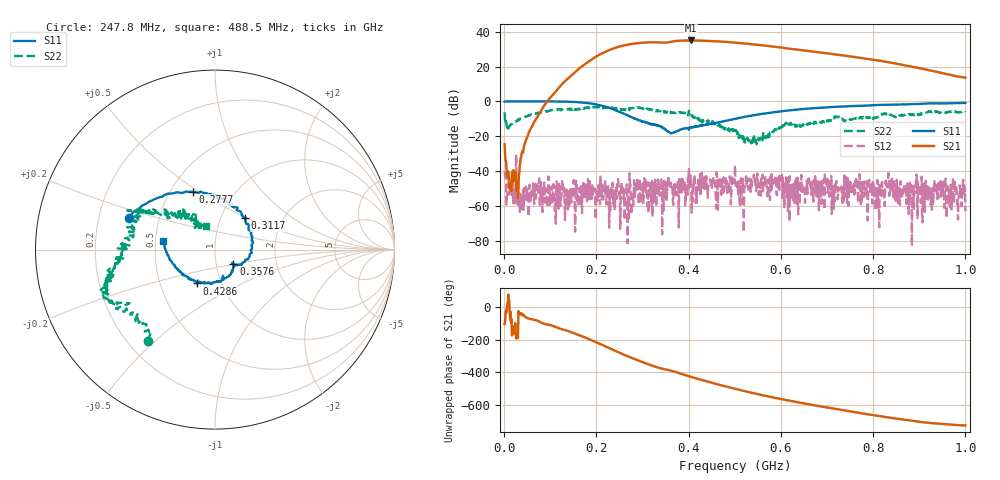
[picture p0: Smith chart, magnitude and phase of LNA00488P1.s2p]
! Created with skrf 1.9.0 (http://scikit-rf.org).
# Hz S RI R 50.0
!freq ReS11 ImS11 ReS21 ImS21 ReS12 ImS12 ReS22 ImS22
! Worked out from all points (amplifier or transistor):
!   1001 points, 1 MHz to 1 GHz, reference 50 ohm
!   highest |S21| = 35.0 dB at 404.6 MHz (marker M1)
!   |S21| within 3 dB of that: 257.2 MHz to 566.2 MHz (309 MHz wide, 75 % of centre) (the widest 1 of 2)
!   unconditionally stable (mu >= 1): 247.8 MHz to 400.3 MHz; 400.9 MHz to 500.5 MHz; 500.5 MHz to end of sweep (the widest 3 of 42)
!   at 166.8 MHz: K = 0.98, MSG = 33.7 dB, |S12| = -47.6 dB
!   at 500.5 MHz: K = 0.99, MSG = 35.1 dB, |S12| = -36.5 dB
!   at 1 GHz: K = 19.52, MAG = 22.4 dB, |S12| = -63.0 dB
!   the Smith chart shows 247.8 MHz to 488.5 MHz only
!   S11 on the Smith chart (normalised r, x): 247.8 MHz: 0.33, +0.16; 277.7 MHz: 0.65, +0.47; 311.7 MHz: 1.30, +0.49; 357.6 MHz: 1.21, -0.20; 428.6 MHz: 0.76, -0.30; 488.5 MHz: 0.55, +0.06
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1000000  0.9815 -0.00298  -0.0128 -0.0572  -0.0081 -0.00568  0.3817 0.3
1.08892e8  0.5338 -0.8406  -0.8012 -1.54  -0.000498 -0.00234  0.427 -0.3865
1.67833e8  -0.2158 -0.9037  -9.963 -0.5914  0.00194 8.07e-05  0.0275 -0.628
2.11789e8  -0.6619 -0.3619  -15.32 18.23  -0.000839 -0.00119  -0.2142 -0.6343
2.29771e8  -0.6394 -0.0599  -8.83 29.01  0.000153 0.000606  -0.3083 -0.5833
2.47753e8  -0.4777 0.1776  3.925 36.68  0.00286 -0.00413  -0.3706 -0.5091
2.77723e8  -0.1232 0.3217  30.3 33.17  0.000691 0.00127  -0.5711 -0.2969
3.11689e8  0.1686 0.1776  48.23 9.303  -0.00361 0.00314  -0.6023 -0.1293
3.34666e8  0.2043 -0.0188  48.45 -9.841  -0.00138 0.00466  -0.5188 -0.0244
3.57643e8  0.1029 -0.0801  44.99 -22.21  -0.00108 0.0032  -0.4651 0.1022
3.76624e8  0.1029 -0.0997  40.43 -36.8  -0.00437 0.00225  -0.4362 0.1831
4.04596e8  0.0302 -0.1783  21.31 -51.95  -0.00424 0.00616  -0.3448 0.2239
4.28572e8  -0.1027 -0.1889  2.852 -55.33  0.00163 0.00881  -0.1874 0.1717
4.55545e8  -0.2123 -0.109  -17 -50.64  0.00344 0.00317  -0.1513 0.1749
4.88512e8  -0.2874 0.0488  -34.04 -36.71  0.0063 0.0011  -0.0505 0.1293
5.005e8  -0.2888 0.1259  -38.19 -30.41  0.0108 -0.0104  -0.0999 0.0736
5.4046e8  -0.2303 0.3282  -42.37 -8.871  0.00574 0.00115  -0.0896 0.00376
5.85415e8  -0.0534 0.4875  -35.82 10.32  0.00231 -0.00395  -0.1365 -0.0656
6.67333e8  0.3346 0.5379  -13.31 23.51  -0.00277 -0.00366  -0.2259 -0.0601
7.53247e8  0.6347 0.3697  3.995 18.83  0.00196 -0.00167  -0.2998 0.00356
8.34166e8  0.7873 0.1409  9.869 8.847  -0.00208 0.00308  -0.4247 0.0332
1e9  0.8192 -0.3837  4.76 -0.5754  -0.000204 0.000679  -0.3211 0.3866
